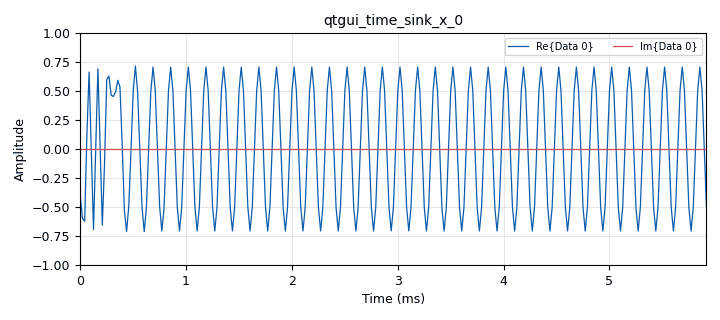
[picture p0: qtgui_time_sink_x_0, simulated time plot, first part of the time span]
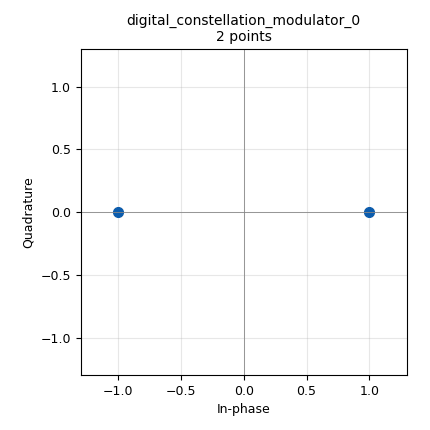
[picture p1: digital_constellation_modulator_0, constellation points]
options:
  parameters:
    author: Barry Duggan
    description: packet transmit (for GNURadio 3.8)
    generate_options: qt_gui
    id: pkt_xmt_gr38
    output_language: python
    title: pkt_xmt_gr38
  states: {}

blocks:
- name: bpsk
  id: variable_constellation
  parameters:
    precision: '8'
    type: bpsk
  states: {}
- name: excess_bw
  id: variable
  parameters:
    value: '0.35'
  states: {}
- name: rs_ratio
  id: variable
  parameters:
    value: '1.040'
  states: {}
- name: samp_rate
  id: variable
  parameters:
    value: '48000'
  states: {}
- name: sps
  id: variable
  parameters:
    value: '2'
  states: {}
- name: usrp_rate
  id: variable
  parameters:
    value: '768000'
  states: {}
- name: blocks_message_strobe_0
  id: blocks_message_strobe
  parameters:
    msg: pmt.cons(pmt.PMT_NIL,pmt.init_u8vector(9,[71,78,85,32,82,97,100,105,111]))
    period: '500'
  states: {}
- name: blocks_multiply_const_vxx_0
  id: blocks_multiply_const_vxx
  parameters:
    const: '0.5'
    type: complex
  states: {}
- name: blocks_pdu_to_tagged_stream_0
  id: blocks_pdu_to_tagged_stream
  parameters:
    tag: packet_len
    type: byte
  states: {}
- name: blocks_throttle_0
  id: blocks_throttle
  parameters:
    samples_per_second: samp_rate
    type: complex
  states: {}
- name: digital_constellation_modulator_0
  id: digital_constellation_modulator
  parameters:
    constellation: bpsk
    differential: 'True'
    excess_bw: excess_bw
    samples_per_symbol: sps
  states: {}
- name: digital_crc32_async_bb_1
  id: digital_crc32_async_bb
  parameters:
    check: 'False'
  states: {}
- name: import_0
  id: import
  parameters:
    imports: import numpy
  states: {}
- name: mmse_resampler_xx_0
  id: mmse_resampler_xx
  parameters:
    phase_shift: '0'
    resamp_ratio: 1.0/((usrp_rate/samp_rate)*rs_ratio)
    type: complex
  states: {}
- name: packet_format_gr38
  id: epy_block
  parameters:
    _source_code: |
      """
      Embedded Python Block
      """

      import numpy as np
      from gnuradio import gr
      import pmt
      import array
      class blk(gr.sync_block):
          """Packet Format"""

          def __init__(self):
              gr.sync_block.__init__(self,
                  name = "Packet Format GR38",
                  in_sig = None,
                  out_sig = None)
              self.message_port_register_in(pmt.intern('PDU_in'))
              self.message_port_register_out(pmt.intern('PDU_out0'))
              self.set_msg_handler(pmt.intern('PDU_in'), self.handle_msg)

          def handle_msg(self, msg):
              inMsg = pmt.to_python (msg)
              pld = inMsg[1] ## type-> numpy.ndarray
              mLen = len(pld)
              if (mLen > 0):
                  ## create a numpy array of type 'int' with preamble and sync word
                  tmp_char_list = np.array([85,85,85,85,85,85,85,85,85,85,85,85,85,85,85,85,85,85,85,85,85,85,85,85,85,85,85,85,85,85,85,85,225,90,232,147],dtype=int)
                  ## append length 2x
                  tmp_char_list=np.append(tmp_char_list,(mLen >> 8))
                  tmp_char_list=np.append(tmp_char_list,(mLen & 255))
                  tmp_char_list=np.append(tmp_char_list,(mLen >> 8))
                  tmp_char_list=np.append(tmp_char_list,(mLen & 255))
                  tmp_char_list_len=len(tmp_char_list)
                  ## append original payload
                  new_char_list=np.insert(tmp_char_list,tmp_char_list_len,pld)
                  new_char_list_len=len(new_char_list)
                  ## save final numpy array as byte array (requires 'import array')
                  byte_array_new_char_list=array.array('B',new_char_list)
                  new_bytes_out_len = len(byte_array_new_char_list)
                  ## create PMT u8vector using byte array
                  new_out_bytes_pmt=pmt.cons(pmt.PMT_NIL,pmt.init_u8vector(new_bytes_out_len,(byte_array_new_char_list)))
                  self.message_port_pub(pmt.intern('PDU_out0'), new_out_bytes_pmt)
  states: {}
- name: qtgui_time_sink_x_0
  id: qtgui_time_sink_x
  parameters:
    size: '1024'
    srate: samp_rate
    tr_mode: qtgui.TRIG_MODE_TAG
    tr_tag: '"packet_len"'
    type: complex
  states: {}
- name: uhd_usrp_sink_0
  id: uhd_usrp_sink
  parameters:
    ant0: '"TX/RX"'
    center_freq0: 830e6
    gain0: '0'
    samp_rate: '768000'
    sync: none
    type: fc32
  states: {}
- name: virtual_sink_0
  id: virtual_sink
  parameters:
    stream_id: tx1
  states: {}
- name: virtual_source_0
  id: virtual_source
  parameters:
    stream_id: tx1
  states: {}
- name: zeromq_pub_sink_0
  id: zeromq_pub_sink
  parameters:
    address: tcp://127.0.0.1:49203
    comment: USRP sample rate = 768kHz
    timeout: '100'
    type: complex
  states: {state: disabled}

connections:
- [blocks_message_strobe_0, strobe, digital_crc32_async_bb_1, in]
- [blocks_multiply_const_vxx_0, '0', mmse_resampler_xx_0, '0']
- [blocks_multiply_const_vxx_0, '0', qtgui_time_sink_x_0, '0']
- [blocks_pdu_to_tagged_stream_0, '0', digital_constellation_modulator_0, '0']
- [blocks_throttle_0, '0', blocks_multiply_const_vxx_0, '0']
- [digital_constellation_modulator_0, '0', virtual_sink_0, '0']
- [digital_crc32_async_bb_1, out, packet_format_gr38, PDU_in]
- [mmse_resampler_xx_0, '0', uhd_usrp_sink_0, '0']
- [mmse_resampler_xx_0, '0', zeromq_pub_sink_0, '0']
- [packet_format_gr38, PDU_out0, blocks_pdu_to_tagged_stream_0, pdus]
- [virtual_source_0, '0', blocks_throttle_0, '0']

metadata:
  file_format: 1
